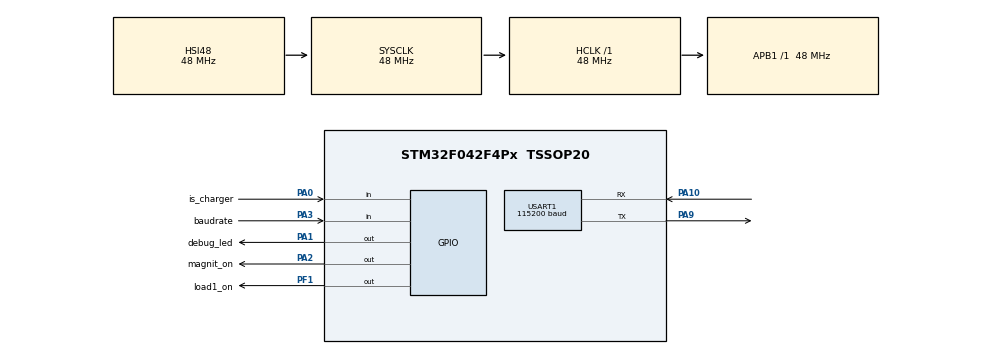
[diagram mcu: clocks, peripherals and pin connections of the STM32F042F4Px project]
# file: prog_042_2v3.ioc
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Mcu.Family=STM32F0
Mcu.Name=STM32F042F4Px
Mcu.Package=TSSOP20
PA0.GPIO_Label=is_charger
PA0.GPIO_PuPd=GPIO_PULLUP
PA0.Signal=GPIO_Input
PA1.GPIO_Label=debug_led
PA1.Signal=GPIO_Output
PA10.Mode=Asynchronous
PA10.Signal=USART1_RX
PA13.Mode=Serial_Wire
PA13.Signal=SYS_SWDIO
PA14.Mode=Serial_Wire
PA14.Signal=SYS_SWCLK
PA2.GPIO_Label=magnit_on
PA2.Signal=GPIO_Output
PA3.GPIO_Label=baudrate
PA3.GPIO_PuPd=GPIO_PULLUP
PA3.Signal=GPIO_Input
PA9.Mode=Asynchronous
PA9.Signal=USART1_TX
PF1-OSC_OUT.GPIO_Label=load1_on
PF1-OSC_OUT.Signal=GPIO_Output
ProjectManager.HeapSize=0x200
ProjectManager.StackSize=0x400
ProjectManager.TargetToolchain=MDK-ARM V5
RCC.AHBFreq_Value=48000000
RCC.APB1Freq_Value=48000000
RCC.APB1TimFreq_Value=48000000
RCC.HCLKFreq_Value=48000000
RCC.SYSCLKFreq_VALUE=48000000
RCC.SYSCLKSource=RCC_SYSCLKSOURCE_HSI48
USART1.BaudRate=115200
USART1.VirtualMode=VM_ASYNC
board=custom

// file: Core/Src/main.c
/* USER CODE BEGIN Header */
/**
  ******************************************************************************
  * @file           : main.c
  * @brief          : Main program body
  ******************************************************************************
  * @attention
  *
  * <h2><center>&copy; Copyright (c) 2021 STMicroelectronics.
  * All rights reserved.</center></h2>
  *
  * This software component is licensed by ST under BSD 3-Clause license,
  * the "License"; You may not use this file except in compliance with the
  * License. You may obtain a copy of the License at:
  *                        opensource.org/licenses/BSD-3-Clause
  *
  ******************************************************************************
  */
/* USER CODE END Header */
#include "main.h"
#include "usart.h"
#include "gpio.h"

/* USER CODE BEGIN PTD */
/* USER CODE BEGIN 0 */

/* USER CODE END PTD */

void SystemClock_Config(void);
/* USER CODE BEGIN PFP */
uint8_t status=0;																																										//переменная для хранения статуса
uint8_t command=0;																																									//команды для передачи в main
uint32_t uart_baud=115200;																																					//скорость UART

uint16_t del_val=600;

extern uint8_t msg_on_1[];																																					//массив команды 1
extern uint8_t msg_on_2[];																																					//массив команды 2

void command_shell()																																									//функция для обработки команд в переменной command
{
	if(command){
		if(command&(1<<0)){																																								//команда открыть закрыть
			command&=~(1<<0);
			HAL_Delay(DELAY_SEND);
			status^=(1<<0);
			GPIOA->ODR&=~(1<<2);															//выключить магнит
			GPIOF->ODR&=~(1<<1);															//выключить зарядку
			del_val=FLASH_SPEED_OFF;
		}
	}
}
/* USER CODE END PFP */

int main(void)
{

  /* MCU Configuration--------------------------------------------------------*/

  /* Reset of all peripherals, Initializes the Flash interface and the Systick. */
  HAL_Init();

  /* Configure the system clock */
  SystemClock_Config();

  /* Initialize all configured peripherals */
  MX_GPIO_Init();
  MX_USART1_UART_Init();
  /* USER CODE BEGIN 2 */
	HAL_Delay(300);
	//после пересборки проекта в кубе, требуется в инициализацию юарта вставить переменную uart_baud, вместо скорости
	if(!(GPIOA->IDR&(1<<3))) {																																					//если перемычка запаянна, то скорость 9600 иначе 115200.
		//uart_baud=9600;
		//MX_USART1_UART_Init();
	}
	USART1->CR1 = USART_CR1_UE;
	NVIC_EnableIRQ(USART1_IRQn); USART1->CR1 |= USART_CR1_TE | USART_CR1_RE | USART_CR1_RXNEIE;        //разрешение прерывания по приему данных UART1

	GPIOA->ODR&=~(1<<2);
	GPIOF->ODR&=~(1<<1);
	/* USER CODE END 2 */

  /* Infinite loop */
  /* USER CODE BEGIN WHILE */
  uint16_t del_toggle=0;
	uint8_t flag_zu=0;
	uint16_t delay_repeat_zu=0;														//для предотвращения повторной зарядки

	while (1)
  {
		command_shell();																		//обработка команд

		del_toggle++;																				//сквозная задержка для мигания отладочным светодиодом
		if(del_toggle>del_val){															//задержка на 600мс
			del_toggle=0;
			GPIOA->ODR^=(1<<1);																//мигаем
			HAL_Delay(10);																		//мигаем
			GPIOA->ODR^=(1<<1);																//мигаем
		}
		HAL_Delay(1);

		//сквозная задержка на повторное включение
		if(delay_repeat_zu) {
			if(!(GPIOA->IDR&(1<<0))) delay_repeat_zu=0;				//если пришло питание когда считает данный счетчик, то сбрасываем его и начинаем счет заного
			delay_repeat_zu++;																//сквозной счетчик для предотвращения повторного включения
		}
		if(delay_repeat_zu>=30000) delay_repeat_zu=0;				//если счетчик досчитал до 10с, то выключаем счетчик
		//сквозная задержка на повторное включение

		if(!(GPIOA->IDR&(1<<0))&&del_val>=FLASH_SPEED_OFF&&!flag_zu&&!delay_repeat_zu){ //если пришло питание от зарядки
			HAL_Delay(1000);
			if(!(GPIOA->IDR&(1<<0))){
				GPIOA->ODR|=(1<<2);															//включить магнит
				GPIOF->ODR|=(1<<1);															//включить зарядку
				del_val=FLASH_SPEED_ON;
				flag_zu=1;
			}
		}else if((GPIOA->IDR&(1<<0))&&flag_zu){							//предотвращение повторной зарядки, если команда пришла, а самокат не сняли
			HAL_Delay(1000);
			if(GPIOA->IDR&(1<<0)){
				flag_zu=0;
				delay_repeat_zu++;
			}
		}

		//if(GPIOA->IDR&(1<<0)) GPIOA->ODR|=(1<<1); else GPIOA->ODR&=~(1<<1);
    /* USER CODE END WHILE */

  }
}

void SystemClock_Config(void)
{
  RCC_OscInitTypeDef RCC_OscInitStruct = {0};
  RCC_ClkInitTypeDef RCC_ClkInitStruct = {0};
  RCC_PeriphCLKInitTypeDef PeriphClkInit = {0};

  /** Initializes the RCC Oscillators according to the specified parameters
  * in the RCC_OscInitTypeDef structure.
  */
  RCC_OscInitStruct.OscillatorType = RCC_OSCILLATORTYPE_HSI48;
  RCC_OscInitStruct.HSI48State = RCC_HSI48_ON;
  RCC_OscInitStruct.PLL.PLLState = RCC_PLL_NONE;
  if (HAL_RCC_OscConfig(&RCC_OscInitStruct) != HAL_OK)
  {
    Error_Handler();
  }
  /** Initializes the CPU, AHB and APB buses clocks
  */
  RCC_ClkInitStruct.ClockType = RCC_CLOCKTYPE_HCLK|RCC_CLOCKTYPE_SYSCLK
                              |RCC_CLOCKTYPE_PCLK1;
  RCC_ClkInitStruct.SYSCLKSource = RCC_SYSCLKSOURCE_HSI48;
  RCC_ClkInitStruct.AHBCLKDivider = RCC_SYSCLK_DIV1;
  RCC_ClkInitStruct.APB1CLKDivider = RCC_HCLK_DIV1;

  if (HAL_RCC_ClockConfig(&RCC_ClkInitStruct, FLASH_LATENCY_1) != HAL_OK)
  {
    Error_Handler();
  }
  PeriphClkInit.PeriphClockSelection = RCC_PERIPHCLK_USART1;
  PeriphClkInit.Usart1ClockSelection = RCC_USART1CLKSOURCE_PCLK1;
  if (HAL_RCCEx_PeriphCLKConfig(&PeriphClkInit) != HAL_OK)
  {
    Error_Handler();
  }
}

void Error_Handler(void)
{
  __disable_irq();
  while (1)
  {
  }
}

/************************ (C) COPYRIGHT STMicroelectronics *****END OF FILE****/
